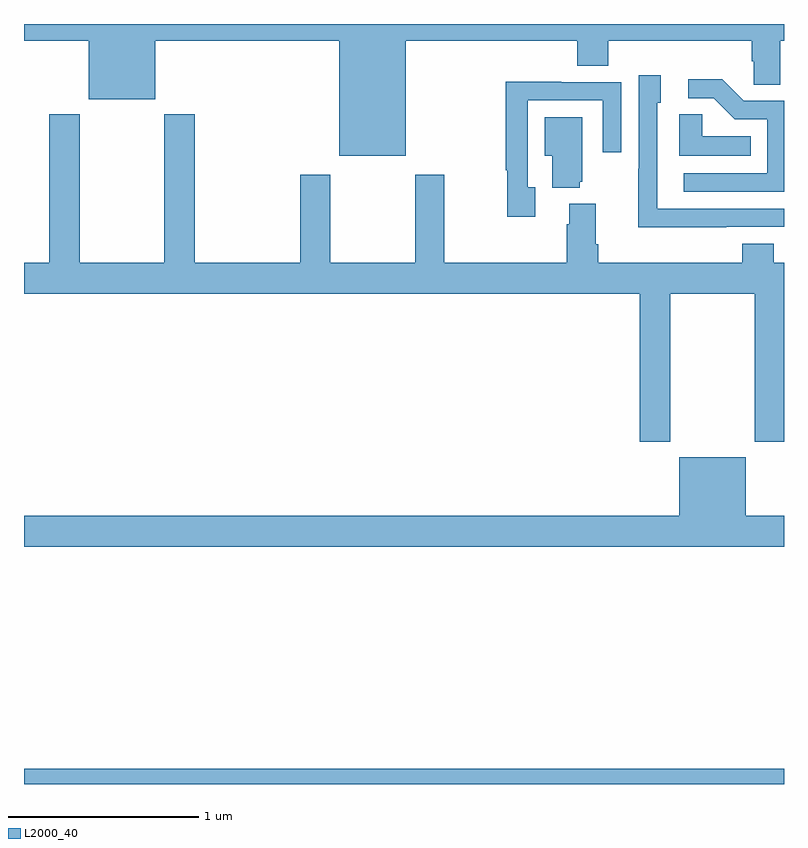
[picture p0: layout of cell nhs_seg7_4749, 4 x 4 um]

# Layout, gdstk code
import gdstk
lib = gdstk.Library(unit=1e-6, precision=1e-09)
def R(c, l, rs):  # rectangles x0, y0, x1, y1
    for r in rs: c.add(gdstk.rectangle(r[:2], r[2:], *l))
def P(c, l, *ps):  # polygons
    for p in ps: c.add(gdstk.Polygon(p, *l))
L2000_40 = (2000, 40)

nhs_seg7_4749 = lib.new_cell('nhs_seg7_4749')
R(nhs_seg7_4749, L2000_40, [(409,1034,413,1034.08)])
P(nhs_seg7_4749, L2000_40, [(411.01,1037.912),(411.911,1037.912),(411.911,1037.779),(412.076,1037.779),(412.076,1037.912),(412.829,1037.912),(412.829,1037.803),(412.842,1037.803),(412.842,1037.68),(412.981,1037.68),(412.981,1037.912),(413,1037.912),(413,1038),(409,1038),(409,1037.912),(409.34,1037.912),(409.34,1037.603),(409.69,1037.603),(409.69,1037.912),(410.66,1037.912),(410.66,1037.306),(411.01,1037.306)],
  [(412.697,1036.932),(413,1036.932),(413,1037.028),(412.332,1037.028),(412.332,1037.586),(412.351,1037.586),(412.351,1037.731),(412.236,1037.731),(412.236,1037.237),(412.234,1037.237),(412.234,1036.93),(412.697,1036.93)],
  [(413,1037.595),(412.788,1037.595),(412.675,1037.708),(412.497,1037.708),(412.497,1037.61),(412.631,1037.61),(412.742,1037.499),(412.911,1037.499),(412.911,1037.214),(412.473,1037.214),(412.473,1037.118),(413,1037.118)],
  [(411.691,1037.142),(411.651,1037.142),(411.651,1037.598),(412.047,1037.598),(412.047,1037.325),(412.143,1037.325),(412.143,1037.694),(411.827,1037.694),(411.827,1037.696),(411.535,1037.696),(411.535,1037.23),(411.543,1037.23),(411.543,1036.986),(411.691,1036.986)],
  [(412.826,1037.41),(412.569,1037.41),(412.569,1037.525),(412.448,1037.525),(412.448,1037.306),(412.826,1037.306)],
  [(412.401,1036.58),(412.846,1036.58),(412.846,1035.801),(413,1035.801),(413,1036.744),(412.946,1036.744),(412.946,1036.843),(412.781,1036.843),(412.781,1036.744),(412.022,1036.744),(412.022,1036.84),(412.009,1036.84),(412.009,1037.053),(411.869,1037.053),(411.869,1036.946),(411.857,1036.946),(411.857,1036.744),(411.213,1036.744),(411.213,1037.206),(411.058,1037.206),(411.058,1036.744),(410.613,1036.744),(410.613,1037.206),(410.453,1037.206),(410.453,1036.744),(409.898,1036.744),(409.898,1037.524),(409.738,1037.524),(409.738,1036.744),(409.293,1036.744),(409.293,1037.524),(409.133,1037.524),(409.133,1036.744),(409,1036.744),(409,1036.58),(412.241,1036.58),(412.241,1035.801),(412.401,1035.801)],
  [(411.926,1037.169),(411.937,1037.169),(411.937,1037.509),(411.74,1037.509),(411.74,1037.306),(411.779,1037.306),(411.779,1037.138),(411.926,1037.138)],
  [(413,1035.412),(412.798,1035.412),(412.798,1035.721),(412.448,1035.721),(412.448,1035.412),(409,1035.412),(409,1035.248),(413,1035.248)])

lib.write_gds('nhs_seg7_4749.gds')
